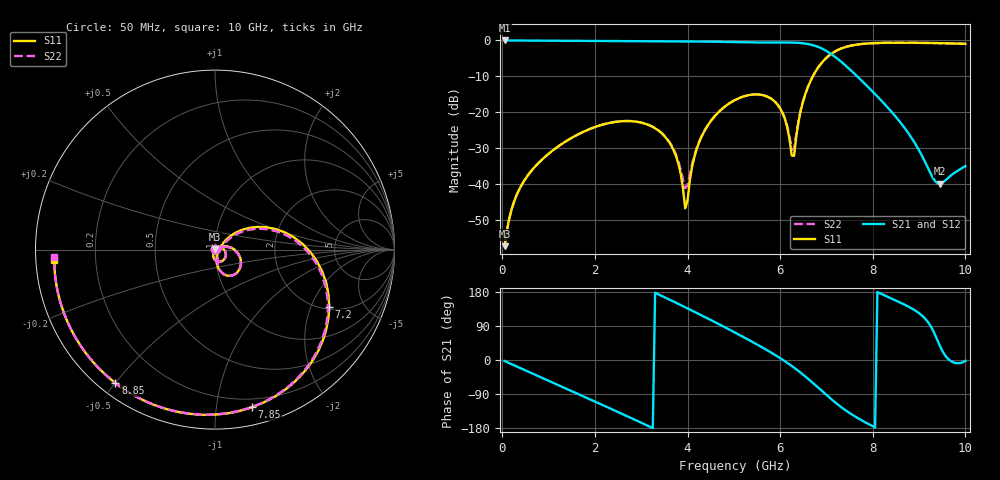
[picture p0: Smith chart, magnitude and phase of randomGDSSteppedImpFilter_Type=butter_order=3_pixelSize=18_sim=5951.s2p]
! freq	dB(S11)	phase(S11)	dB(S12)	phase(S12)
!  dB(S21)	phase(S21)	dB(S22)	phase(S22)
!S-par simulation data
#  GHz  S  DB  R 50
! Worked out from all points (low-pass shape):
!   200 points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, 50 MHz to 10 GHz, reference 50 ohm
!   highest |S21| = -0.01 dB at 50 MHz (marker M1); lowest = -39.9 dB at 9.45 GHz (marker M2)
!   |S21| within 3 dB of the highest: start of sweep to 7.008 GHz
!   lowest |S11| = -57.3 dB at 50 MHz (marker M3), VSWR 1.00, Z = 50.1 + j0.0928 ohm
!   |S11| at or under -10 dB: start of sweep to 6.706 GHz
!   |S22| runs from -57.3 to -0.6 dB; largest |S21 - S12| = 0
!   S11 on the Smith chart (normalised r, x): 50 MHz: 1.00, +0.00; 7.2 GHz: 2.12, -2.73; 7.85 GHz: 0.13, -1.25; 8.85 GHz: 0.05, -0.50; 10 GHz: 0.05, -0.03
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0.05  -57.28 42.6  -0.01 -2.8  -0.01 -2.8  -57.28 42.6
0.2  -47.07 69.1  -0.02 -11.0  -0.02 -11.0  -47.08 69.5
0.5  -38.51 61.6  -0.04 -27.3  -0.04 -27.3  -38.51 62.2
1.15  -30.06 28.3  -0.08 -62.8  -0.08 -62.8  -30.04 29.6
1.75  -25.45 -4.6  -0.12 -95.8  -0.12 -95.8  -25.43 -2.9
2.65  -22.45 -54.3  -0.20 -145.7  -0.20 -145.7  -22.43 -52.0
3.4  -25.39 -95.1  -0.25 171.6  -0.25 171.6  -25.32 -90.8
3.75  -32.16 -110.2  -0.27 151.1  -0.27 151.1  -31.79 -100.5
3.95  -46.75 -65.0  -0.28 139.2  -0.28 139.2  -41.12 -53.8
4.1  -35.08 26.8  -0.29 130.2  -0.29 130.2  -34.36 13.6
4.3  -26.87 23.0  -0.32 118.0  -0.32 118.0  -26.76 17.5
5.05  -16.44 -19.6  -0.48 70.8  -0.48 70.8  -16.43 -20.7
5.9  -17.24 -73.0  -0.58 12.6  -0.58 12.6  -17.21 -72.1
6.3  -32.13 7.5  -0.62 -20.1  -0.62 -20.1  -30.32 0.8
6.45  -19.21 41.6  -0.74 -34.1  -0.74 -34.1  -19.07 37.2
6.7  -10.15 23.7  -1.29 -59.8  -1.29 -59.8  -10.13 21.4
7.2  -2.96 -26.5  -4.71 -113.1  -4.71 -113.1  -2.96 -27.8
7.85  -0.89 -76.8  -12.34 -165.3  -12.34 -165.3  -0.89 -77.8
8.35  -0.65 -104.0  -19.07 165.2  -19.07 165.2  -0.65 -104.9
8.85  -0.65 -126.7  -27.38 135.5  -27.38 135.5  -0.65 -127.5
9.45  -0.76 -152.1  -39.92 37.0  -39.92 37.0  -0.76 -152.9
10  -0.94 -176.3  -34.98 -2.4  -34.98 -2.4  -0.94 -177.2
